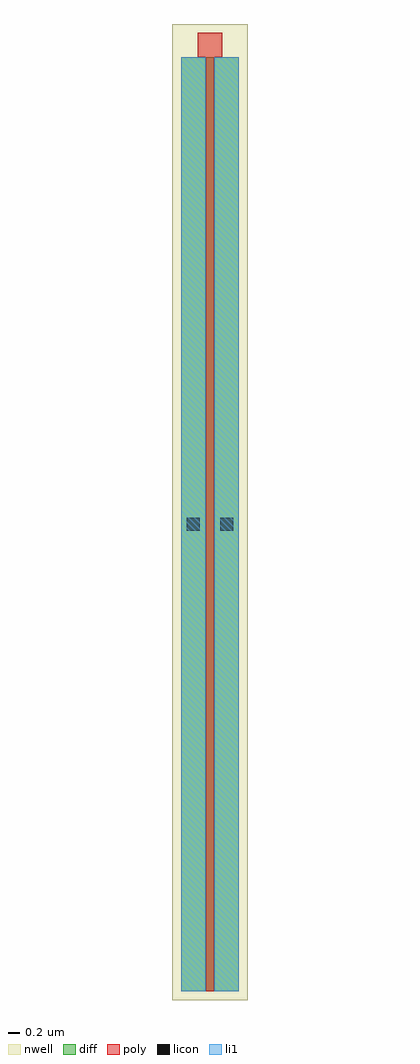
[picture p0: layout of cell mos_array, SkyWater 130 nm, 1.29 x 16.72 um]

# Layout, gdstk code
import gdstk
lib = gdstk.Library(unit=1e-6, precision=1e-09)
def R(c, l, rs):  # rectangles x0, y0, x1, y1
    for r in rs: c.add(gdstk.rectangle(r[:2], r[2:], *l))
nwell = (64, 20)
diff = (65, 20)
poly = (66, 20)
licon = (66, 44)
li1 = (67, 20)

mos_array = lib.new_cell('mos_array')
R(mos_array, nwell, [(-0.15,-0.15,1.14,16.57)])
R(mos_array, diff, [(0,0,0.99,16)])
R(mos_array, poly, [(0.42,0,0.57,16), (0.285,16,0.705,16.42)])
R(mos_array, licon, [(0.1,7.89,0.32,8.11), (0.67,7.89,0.89,8.11)])
R(mos_array, li1, [(0,0,0.42,16), (0.57,0,0.99,16)])

lib.write_gds('mos_array.gds')
